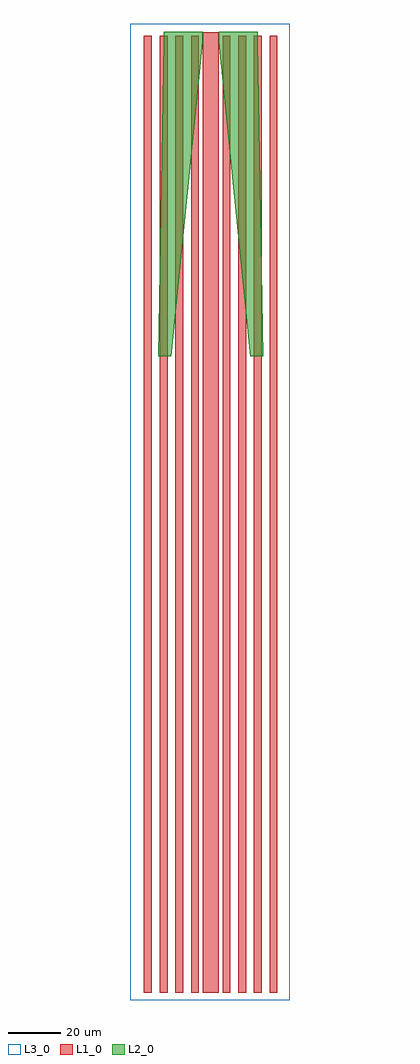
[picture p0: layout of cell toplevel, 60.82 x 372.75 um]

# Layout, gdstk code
import gdstk
lib = gdstk.Library(unit=1e-6, precision=1e-09)
def R(c, l, rs):  # rectangles x0, y0, x1, y1
    for r in rs: c.add(gdstk.rectangle(r[:2], r[2:], *l))
def A(c, l, x, y, w, h, nx, ny, dx, dy):  # array of equal rectangles
    R(c, l, [(x+i*dx, y+j*dy, x+i*dx+w, y+j*dy+h) for i in range(nx) for j in range(ny)])
def P(c, l, *ps):  # polygons
    for p in ps: c.add(gdstk.Polygon(p, *l))
L1_0 = (1, 0)
L2_0 = (2, 0)
L3_0 = (3, 0)

toplevel = lib.new_cell('toplevel')
A(toplevel, L1_0, -25.5, 1773.977, 3, 365.444, 4, 1, 6, 0)
A(toplevel, L1_0, 4.5, 1773.977, 3, 365.444, 4, 1, 6, 0)
R(toplevel, L1_0, [(-3,1773.977,3,2140.681)])
P(toplevel, L2_0, [(-20,2016.921),(-18,2136.921),(-18,2140.882),(-3,2140.882),(-3,2136.921),(-15,2016.921)],
  [(15,2016.921),(3,2136.921),(3,2140.882),(18,2140.882),(18,2136.921),(20,2016.921)])
R(toplevel, L3_0, [(-30.691,1771.124,30.133,2143.875)])

lib.write_gds('toplevel.gds')
